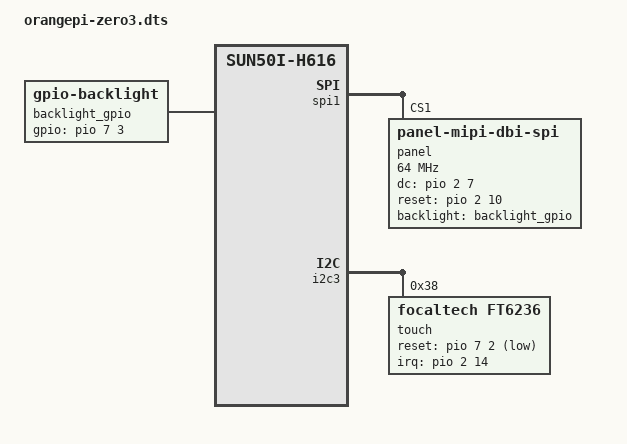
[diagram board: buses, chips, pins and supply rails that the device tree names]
/dts-v1/;
/plugin/;

/ {
        compatible = "allwinner,sun50i-h616";

        fragment@0 {
                target-path = "/aliases";
                __overlay__ {
			pio = "/soc/pinctrl@300b000";
                        spi1 = "/soc/spi@5011000";
			i2c3 = "/soc/i2c@5002c00";
                };
        };

	fragment@1 {
		target = <&pio>;
		__overlay__ {
			spi1_cs1_pin: spi1-cs1-pin {
				pins = "PH9";
				function = "spi1";
			};
		};
	};

        fragment@2 {
                target = <&spi1>;
                __overlay__ {
                        #address-cells = <1>;
                        #size-cells = <0>;
                        status = "okay";

                        panel: panel@1 {
                                compatible = "panel-mipi-dbi-spi";
                                reg = <1>;
                                spi-max-frequency = <64000000>;

                                dc-gpios = <&pio 2 7 0>;
                                reset-gpios = <&pio 2 10 0>;
                                write-only;

                                format = "b6x2g6x2r6x2";

                                backlight = <&backlight_gpio>;

                                width-mm = <73>;
                                height-mm = <49>;
		
				pinctrl-names = "default";
				pinctrl-0 = <&spi1_cs1_pin>;

                                panel-timing {
                                        hactive = <480>;
                                        vactive = <320>;
                                        hback-porch = <0>;
                                        vback-porch = <0>;
                                        clock-frequency = <0>;
                                        hfront-porch = <0>;
                                        hsync-len = <0>;
                                        vfront-porch = <0>;
                                        vsync-len = <0>;
                                };
                        };
                };
        };

	fragment@3 {
		target-path = "/";
		__overlay__ {
			backlight_gpio: backlight_gpio {
				compatible = "gpio-backlight";
				gpios = <&pio 7 3 0>;
				default-on;
			};
		};
	};

	fragment@4 {
		target = <&i2c3>;
		__overlay__ {
			#address-cells = <1>;
			#size-cells = <0>;
			status = "okay";

			touch@38 {
				compatible = "focaltech,ft6236";
				status = "okay";
				reg = <0x38>;
				reset-gpios = <&pio 7 2 1>;
				interrupt-parent = <&pio>;
				interrupts = <2 14 2>;
				
				touchscreen-size-x = <320>;
				touchscreen-size-y = <480>;
			};
		};
	};
};
